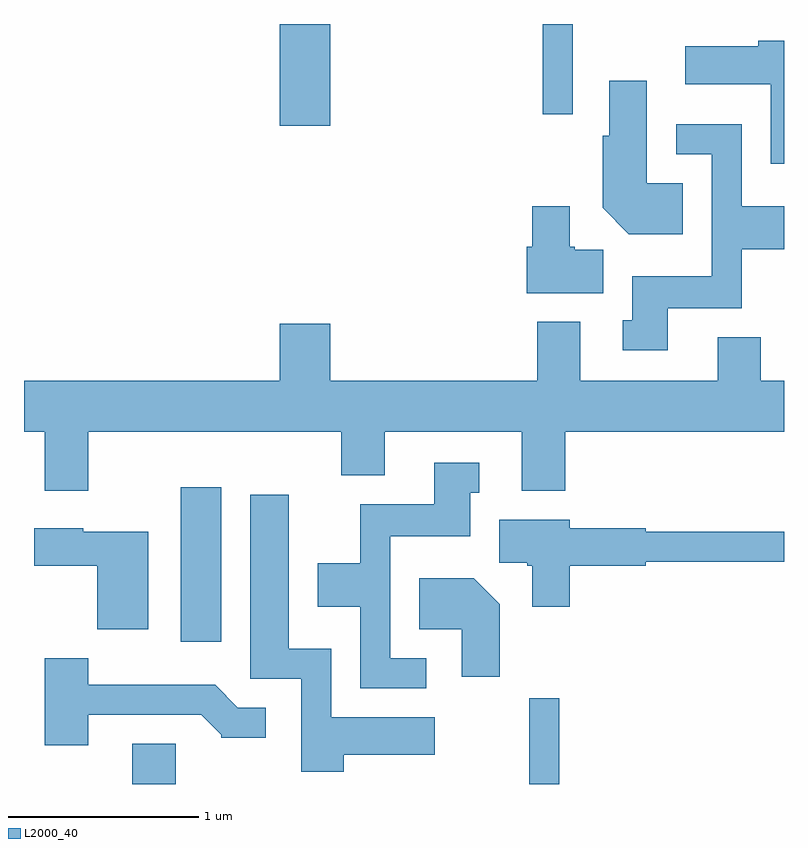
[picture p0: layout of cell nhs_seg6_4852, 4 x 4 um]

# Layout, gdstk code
import gdstk
lib = gdstk.Library(unit=1e-6, precision=1e-09)
def R(c, l, rs):  # rectangles x0, y0, x1, y1
    for r in rs: c.add(gdstk.rectangle(r[:2], r[2:], *l))
def P(c, l, *ps):  # polygons
    for p in ps: c.add(gdstk.Polygon(p, *l))
L2000_40 = (2000, 40)

nhs_seg6_4852 = lib.new_cell('nhs_seg6_4852')
R(nhs_seg6_4852, L2000_40, [(334.181,1568.162,334.409,1568.374), (336.271,1568.162,336.429,1568.613), (334.436,1568.911,334.649,1569.724), (334.956,1571.626,335.224,1572.162), (336.341,1571.688,336.499,1572.162)])
P(nhs_seg6_4852, L2000_40, [(337.611,1572.074),(337.476,1572.074),(337.476,1572.044),(337.091,1572.044),(337.091,1571.846),(337.541,1571.846),(337.541,1571.426),(337.611,1571.426)],
  [(337.079,1571.324),(336.889,1571.324),(336.889,1571.864),(336.691,1571.864),(336.691,1571.574),(336.656,1571.574),(336.656,1571.194),(336.794,1571.056),(337.079,1571.056)],
  [(336.999,1570.666),(337.389,1570.666),(337.389,1570.976),(337.611,1570.976),(337.611,1571.204),(337.389,1571.204),(337.389,1571.634),(337.043,1571.634),(337.043,1571.476),(337.231,1571.476),(337.231,1570.834),(336.811,1570.834),(336.811,1570.604),(336.763,1570.604),(336.763,1570.446),(336.999,1570.446)],
  [(336.659,1570.974),(336.51,1570.974),(336.51,1570.989),(336.484,1570.989),(336.484,1571.204),(336.286,1571.204),(336.286,1570.989),(336.256,1570.989),(336.256,1570.746),(336.659,1570.746)],
  [(333.949,1570.016),(335.281,1570.016),(335.281,1569.786),(335.509,1569.786),(335.509,1570.016),(336.231,1570.016),(336.231,1569.706),(336.459,1569.706),(336.459,1570.016),(337.611,1570.016),(337.611,1570.284),(337.489,1570.284),(337.489,1570.514),(337.261,1570.514),(337.261,1570.284),(336.539,1570.284),(336.539,1570.594),(336.311,1570.594),(336.311,1570.284),(335.224,1570.284),(335.224,1570.584),(334.956,1570.584),(334.956,1570.284),(333.611,1570.284),(333.611,1570.016),(333.721,1570.016),(333.721,1569.706),(333.949,1569.706)],
  [(335.728,1568.824),(335.539,1568.824),(335.539,1569.466),(335.959,1569.466),(335.959,1569.696),(336.008,1569.696),(336.008,1569.854),(335.771,1569.854),(335.771,1569.634),(335.381,1569.634),(335.381,1569.324),(335.156,1569.324),(335.156,1569.096),(335.381,1569.096),(335.381,1568.666),(335.728,1568.666)],
  [(335.294,1568.316),(335.774,1568.316),(335.774,1568.514),(335.229,1568.514),(335.229,1568.874),(335.004,1568.874),(335.004,1569.684),(334.801,1569.684),(334.801,1568.716),(335.071,1568.716),(335.071,1568.226),(335.294,1568.226)],
  [(336.484,1569.311),(336.884,1569.311),(336.884,1569.331),(337.611,1569.331),(337.611,1569.489),(336.884,1569.489),(336.884,1569.509),(336.484,1569.509),(336.484,1569.554),(336.111,1569.554),(336.111,1569.326),(336.26,1569.326),(336.26,1569.311),(336.286,1569.311),(336.286,1569.096),(336.484,1569.096)],
  [(334.264,1569.489),(333.924,1569.489),(333.924,1569.509),(333.666,1569.509),(333.666,1569.311),(333.996,1569.311),(333.996,1568.976),(334.264,1568.976)],
  [(336.114,1569.107),(335.977,1569.244),(335.691,1569.244),(335.691,1568.976),(335.916,1568.976),(335.916,1568.726),(336.114,1568.726)],
  [(333.949,1568.526),(334.544,1568.526),(334.65,1568.42),(334.65,1568.406),(334.883,1568.406),(334.883,1568.564),(334.737,1568.564),(334.617,1568.684),(333.949,1568.684),(333.949,1568.824),(333.721,1568.824),(333.721,1568.366),(333.949,1568.366)])

lib.write_gds('nhs_seg6_4852.gds')
